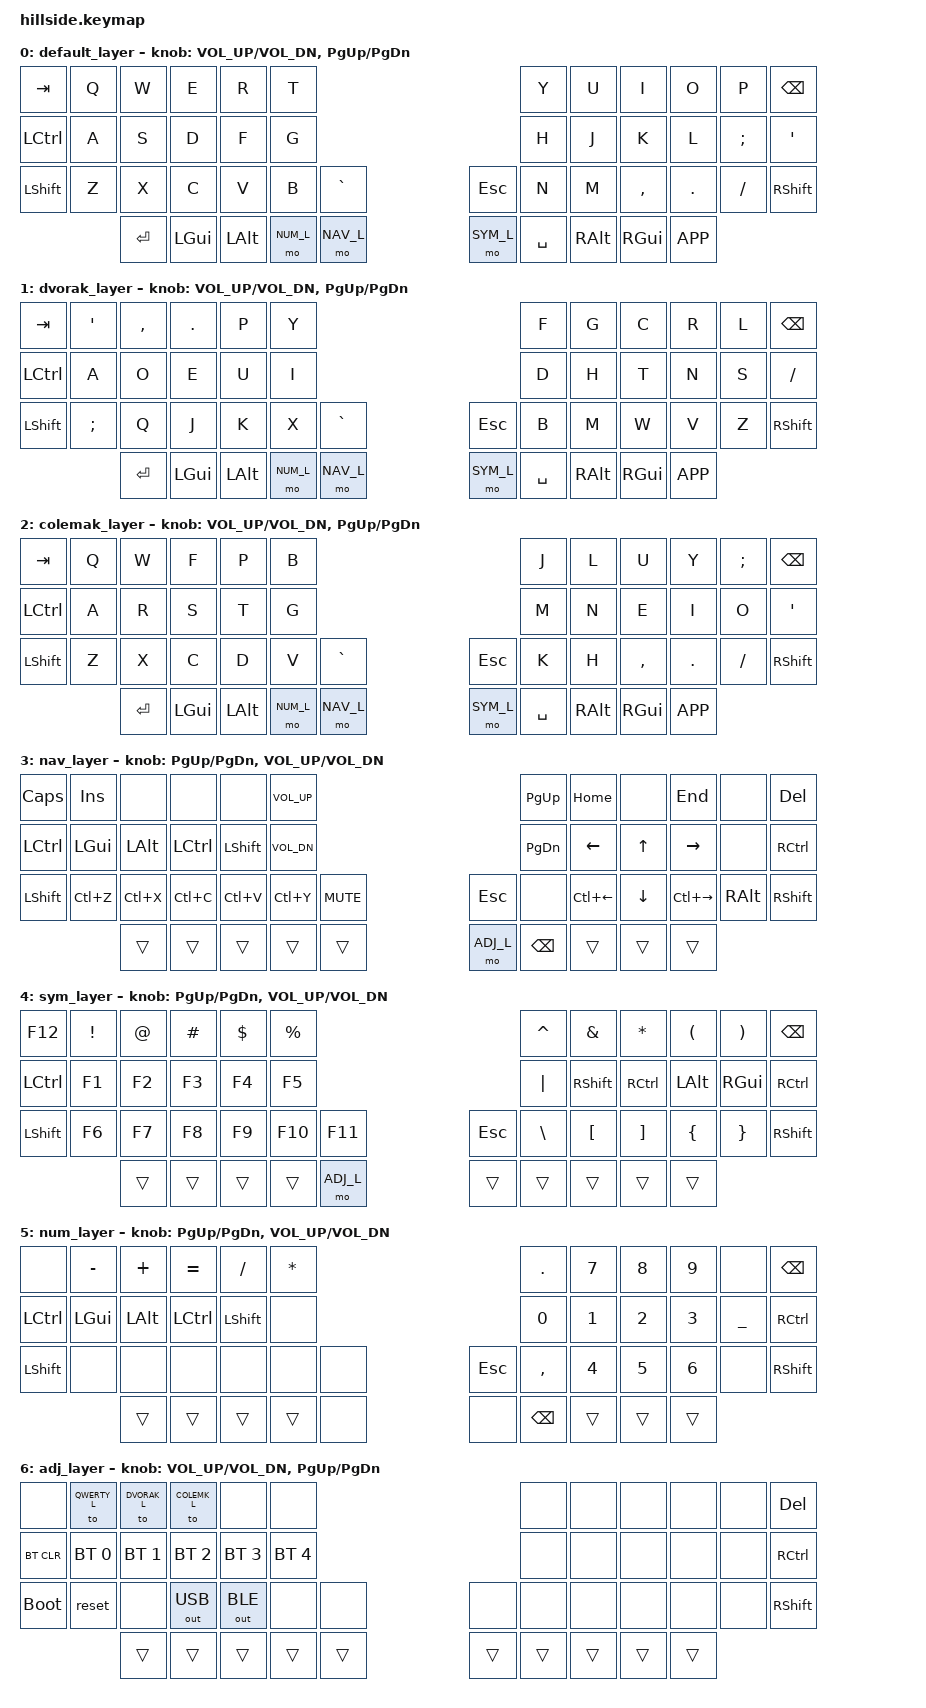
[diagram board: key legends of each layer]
/*
 * Copyright (c) 2021 The ZMK Contributors
 *
 * SPDX-License-Identifier: MIT
 */

#include <behaviors.dtsi>
#include <dt-bindings/zmk/bt.h>
#include <dt-bindings/zmk/ext_power.h>
#include <dt-bindings/zmk/keys.h>
#include <dt-bindings/zmk/outputs.h>
#include <dt-bindings/zmk/rgb.h>

#define QWERTY_L 0
#define DVORAK_L 1
#define COLEMK_L 2
#define NAV_L    3
#define SYM_L    4
#define NUM_L    5
#define ADJ_L    6

#define WORD_L   LC(LEFT)
#define WORD_R   LC(RIGHT)

/ {
        keymap {
                compatible = "zmk,keymap";

                default_layer {
/* QWERTY
 * -------------------------------------------------------------------------------------------------------------------------------------
 * | TAB   |   Q   |   W   |   E   |   R   |   T   |-----------------------------------|   Y   |   U   |   I   |   O   |   P   | BKSPC |
 * | CTRL  |   A   |   S   |   D   |   F   |   G   |-----------------------------------|   H   |   J   |   K   |   L   |   ;   |  '    |
 * | SHIFT |   Z   |   X   |   C   |   V   |   B   |   `   |-------------------|  ESC  |   N   |   M   |   ,   |   .   |   /   | SHIFT |
 * ----------------| ENTER |-------|  GUI  |  ALT  |  Num  |  Nav  |---|  Sym  | SPACE |  ALT  |  GUI  |-------|  APP  |----------------
 */
                        bindings = <
&kp  TAB      &kp  Q        &kp  W        &kp  E        &kp  R        &kp  T                                                                         &kp  Y        &kp  U        &kp  I        &kp  O        &kp  P        &kp  BSPC
&kp  LCTRL    &kp  A        &kp  S        &kp  D        &kp  F        &kp  G                                                                         &kp  H        &kp  J        &kp  K        &kp  L        &kp  SEMI     &kp  SQT  
&kp  LSHFT    &kp  Z        &kp  X        &kp  C        &kp  V        &kp  B        &kp  GRAVE                                         &kp   ESC     &kp  N        &kp  M        &kp  COMMA    &kp  DOT      &kp  SLASH    &kp  RSHFT
                            &kp  ENTER                  &kp  LGUI     &kp  LALT     &mo  NUM_L    &mo  NAV_L             &mo  SYM_L    &kp  SPACE    &kp  RALT     &kp  RGUI                   &kp  K_APP    
                        >;
			
                        sensor-bindings = <&inc_dec_kp C_VOL_UP C_VOL_DN &inc_dec_kp PG_UP PG_DN>;
                };
		
                dvorak_layer {
/* DVORAK
 * -------------------------------------------------------------------------------------------------------------------------------------
 * | TAB   |   '   |   ,   |   .   |   P   |   Y   |-----------------------------------|   F   |   G   |   C   |   R   |   L   | BKSPC |
 * | CTRL  |   A   |   O   |   E   |   U   |   I   |-----------------------------------|   D   |   H   |   T   |   N   |   S   |  /    |
 * | SHIFT |   ;   |   Q   |   J   |   K   |   X   |   ~   |-------------------|  ESC  |   B   |   M   |   W   |   V   |   Z   | SHIFT |
 * ----------------| ENTER |-------|  GUI  |  ALT  |  Num  |  Nav  |---|  Sym  | SPACE |  ALT  |  GUI  |-------|  APP  |----------------
 */
                        bindings = <
&kp  TAB      &kp  SQT      &kp  COMMA    &kp  DOT      &kp  P        &kp  Y                                                                         &kp  F        &kp  G        &kp  C        &kp  R        &kp  L        &kp  BSPC
&kp  LCTRL    &kp  A        &kp  O        &kp  E        &kp  U        &kp  I                                                                         &kp  D        &kp  H        &kp  T        &kp  N        &kp  S        &kp  SLASH
&kp  LSHFT    &kp  SEMI     &kp  Q        &kp  J        &kp  K        &kp  X        &kp  GRAVE                                         &kp   ESC     &kp  B        &kp  M        &kp  W        &kp  V        &kp  Z        &kp  RSHFT
                            &kp  ENTER                  &kp  LGUI     &kp  LALT     &mo  NUM_L    &mo  NAV_L             &mo  SYM_L    &kp  SPACE    &kp  RALT     &kp  RGUI                   &kp  K_APP    
                        >;
			
                        sensor-bindings = <&inc_dec_kp C_VOL_UP C_VOL_DN &inc_dec_kp PG_UP PG_DN>;
                };
		
                colemak_layer {
/* COLEMAK-DH
 * -------------------------------------------------------------------------------------------------------------------------------------
 * | TAB   |   Q   |   W   |   F   |   P   |   B   |-----------------------------------|   J   |   L   |   U   |   Y   |   ;   | BKSPC |
 * | CTRL  |   A   |   R   |   S   |   T   |   G   |-----------------------------------|   M   |   N   |   E   |   I   |   O   |  '    |
 * | SHIFT |   Z   |   X   |   C   |   D   |   V   |   `   |-------------------|  ESC  |   K   |   H   |   ,   |   .   |   /   | SHIFT |
 * ----------------| ENTER |-------|  GUI  |  ALT  |  Num  |  Nav  |---|  Sym  | SPACE |  ALT  |  GUI  |-------|  APP  |----------------
 */
                        bindings = <
&kp  TAB      &kp  Q        &kp  W        &kp  F        &kp  P        &kp  B                                                                         &kp  J        &kp  L        &kp  U        &kp  Y        &kp  SEMI     &kp  BSPC
&kp  LCTRL    &kp  A        &kp  R        &kp  S        &kp  T        &kp  G                                                                         &kp  M        &kp  N        &kp  E        &kp  I        &kp  O        &kp  SQT  
&kp  LSHFT    &kp  Z        &kp  X        &kp  C        &kp  D        &kp  V        &kp  GRAVE                                         &kp   ESC     &kp  K        &kp  H        &kp  COMMA    &kp  DOT      &kp  SLASH    &kp  RSHFT
                            &kp  ENTER                  &kp  LGUI     &kp  LALT     &mo  NUM_L    &mo  NAV_L             &mo  SYM_L    &kp  SPACE    &kp  RALT     &kp  RGUI                   &kp  K_APP    
                        >;
			
                        sensor-bindings = <&inc_dec_kp C_VOL_UP C_VOL_DN &inc_dec_kp PG_UP PG_DN>;
                };
		
                nav_layer {
/* NAV   
 * -------------------------------------------------------------------------------------------------------------------------------------
 * | CAPS  |  INS  |       |       |       | VOL+  |-----------------------------------| PG_UP |  HOME |       |  END  |       |  DEL  |
 * | Ctrl  |  GUI  |  ALT  | CTRL  | SHIFT | VOL-  |-----------------------------------| PG_DN |  LEFT |   UP  | RIGHT |       | CTRL  |
 * | Shift | UNDO  |  CUT  | COPY  | PASTE | REDO  |  MUTE |-------------------|  ESC  |       | WORDL |  DOWN | WORDR | RALT  | SHIFT |
 * ----------------|       |-------|       |       |       |       |---|       | BSPC  |       |       |-------|       |----------------
 */
                        bindings = <
&kp  CAPS     &kp  INS      &none         &none         &none         &kp  C_VOL_UP                                                                  &kp  PG_UP    &kp  HOME     &none         &kp  END      &none         &kp  DEL 
&kp  LCTRL    &kp  LGUI     &kp  LALT     &kp  LCTRL    &kp  LSHFT    &kp  C_VOL_DN                                                                  &kp  PG_DN    &kp  LEFT     &kp  UP       &kp  RIGHT    &none         &kp  RCTRL
&kp  LSHFT    &kp  LC(Z)    &kp  LC(X)    &kp  LC(C)    &kp  LC(V)    &kp  LC(Y)    &kp  C_MUTE                                        &kp  ESC      &none         &kp  WORD_L   &kp  DOWN     &kp  WORD_R   &kp  RALT     &kp  RSHFT
                            &trans                      &trans        &trans        &trans        &trans                 &mo  ADJ_L    &kp  BSPC     &trans        &trans                      &trans    
                        >;
			
                        sensor-bindings = <&inc_dec_kp PG_UP PG_DN &inc_dec_kp C_VOL_UP C_VOL_DN>;
                };
		
                sym_layer {
/* SYM
 * -------------------------------------------------------------------------------------------------------------------------------------
 * | F12   |   !   |   @   |   #   |   $   |   %   |-----------------------------------|   ^   |   &   |   *   |   (   |   )   | BSPC  |
 * | Ctrl  |  F1   |  F2   |  F3   |  F4   |  F5   |-----------------------------------|   |   | Shift | Ctrl  |  Alt  |  GUI  | CTRL  |
 * | Shift |  F6   |  F7   |  F8   |  F9   |  F10  |   F11 |-------------------| ESC   |   \   |   [   |   ]   |   {   |   }   | SHIFT |
 * ----------------|       |-------|       |       |       | ADJ_L |---|       |       |       |       |-------|       |----------------
 */
                        bindings = <
&kp  F12      &kp  EXCL     &kp  AT       &kp  HASH     &kp  DOLLAR   &kp  PERCENT                                                                   &kp  CARET    &kp  AMPS     &kp  ASTRK    &kp  LPAR     &kp  RPAR     &kp  BSPC
&kp  LCTRL    &kp  F1       &kp  F2       &kp  F3       &kp  F4       &kp  F5                                                                        &kp  PIPE     &kp  RSHFT    &kp  RCTRL    &kp  LALT     &kp  RGUI     &kp  RCTRL
&kp  LSHFT    &kp  F6       &kp  F7       &kp  F8       &kp  F9       &kp  F10      &kp  F11                                           &kp  ESC      &kp  BSLH     &kp  LBKT     &kp  RBKT     &kp  LBRC     &kp  RBRC     &kp  RSHFT
                            &trans                      &trans        &trans        &trans        &mo  ADJ_L             &trans        &trans        &trans        &trans                      &trans    
                        >;
			
                        sensor-bindings = <&inc_dec_kp PG_UP PG_DN &inc_dec_kp C_VOL_UP C_VOL_DN>;
                };
		
                num_layer {
/* NUM   
 * -------------------------------------------------------------------------------------------------------------------------------------
 * |       |   -   |   +   |   =   |   /   |   *   |-----------------------------------|   .   |   7   |   8   |   9   |       | BSPC  |
 * | Ctrl  |  GUI  |  ALT  | CTRL  | SHIFT |       |-----------------------------------|   0   |   1   |   2   |   3   |   _   | CTRL  |
 * | Shift |       |       |       |       |       |       |-------------------|  ESC  |   ,   |   4   |   5   |   6   |       | SHIFT |
 * ----------------|       |-------|       |       |       |       |---|       | BSPC  |       |       |-------|       |----------------
 */
                        bindings = <
&none         &kp  MINUS    &kp  PLUS     &kp  EQUAL    &kp  SLASH    &kp  ASTRK                                                                     &kp   DOT     &kp   N7      &kp   N8      &kp   N9      &none         &kp  BSPC
&kp  LCTRL    &kp  LGUI     &kp  LALT     &kp  LCTRL    &kp  LSHFT    &none                                                                          &kp   N0      &kp   N1      &kp   N2      &kp   N3      &kp  UNDER    &kp  RCTRL
&kp  LSHFT    &none         &none         &none         &none         &none         &none                                              &kp  ESC      &kp  COMMA    &kp   N4      &kp   N5      &kp   N6      &none         &kp  RSHFT
                            &trans                      &trans        &trans        &trans        &none                  &none         &kp  BSPC     &trans        &trans                      &trans    
                        >;
			
                        sensor-bindings = <&inc_dec_kp PG_UP PG_DN &inc_dec_kp C_VOL_UP C_VOL_DN>;
                };
		
                adj_layer {
/* ADJUST
 * -------------------------------------------------------------------------------------------------------------------------------------
 * |       | QWERTY| DVORAK| COLEMK|       |       |-----------------------------------|       |       |       |       |       |       |
 * | BTCLR | BT 0  | BT 1  | BT 2  | BT 3  | BT 4  |-----------------------------------|       |       |       |       |       |       |
 * | BOOTL | RESET |       |OUT_USB|OUT_BLE|       |       |-------------------|       |       |       |       |       |       |       |
 * ----------------|       |-------|       |       |       |       |---|       |       |       |       |-------|       |----------------
 */
                        bindings = <
&none         &to  QWERTY_L &to  DVORAK_L &to  COLEMK_L &none         &none                                                                             &none             &none              &none         &none         &none         &kp  DEL 
&bt  BT_CLR   &bt  BT_SEL 0 &bt  BT_SEL 1 &bt  BT_SEL 2 &bt  BT_SEL 3 &bt  BT_SEL 4                                                                     &none             &none              &none         &none         &none         &kp  RCTRL
&bootloader   &reset        &none         &out OUT_USB  &out OUT_BLE  &none         &none                                              &none            &none             &none              &none         &none         &none         &kp  RSHFT
                            &trans                      &trans        &trans        &trans        &trans                 &trans        &trans           &trans            &trans                           &trans    
                        >;
			
                        sensor-bindings = <&inc_dec_kp C_VOL_UP C_VOL_DN &inc_dec_kp PG_UP PG_DN>;
                };
        };
};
